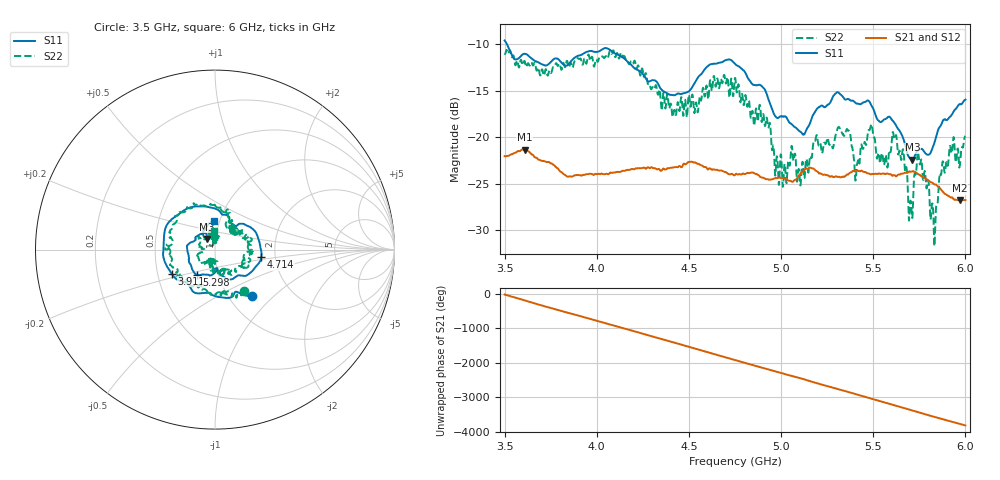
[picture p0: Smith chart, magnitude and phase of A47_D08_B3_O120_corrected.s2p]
! Created with skrf 1.9.0 (http://scikit-rf.org).
# Hz S RI R 50.0
!freq ReS11 ImS11 ReS21 ImS21 ReS12 ImS12 ReS22 ImS22
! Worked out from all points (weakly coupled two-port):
!   1601 points, 3.5 GHz to 6 GHz, reference 50 ohm
!   highest |S21| = -21.32 dB at 3.609 GHz (marker M1); lowest = -26.8 dB at 5.969 GHz (marker M2)
!   lowest |S11| = -22.4 dB at 5.713 GHz (marker M3), VSWR 1.16, Z = 45.2 + j5.43 ohm
!   |S11| at or under -10 dB: 3.512 GHz to end of sweep
!   |S22| runs from -31.7 to -10.6 dB; largest |S21 - S12| = 0.001
!   S11 on the Smith chart (normalised r, x): 3.5 GHz: 1.27, -0.74; 3.911 GHz: 0.59, -0.17; 4.714 GHz: 1.69, -0.15; 5.298 GHz: 0.79, -0.23; 6 GHz: 0.94, +0.31
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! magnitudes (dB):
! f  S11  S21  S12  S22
! 3.5 GHz  -9.6  -22.0  -22.0  -11.0
! 3.609 GHz  -11.0  -21.3  -21.3  -11.8
! 3.911 GHz  -11.2  -24.1  -24.0  -11.5
! 3.917 GHz  -11.1  -24.1  -24.1  -11.8
! 4.334 GHz  -14.3  -23.4  -23.4  -15.3
! 4.714 GHz  -11.7  -24.0  -24.0  -14.4
! 4.75 GHz  -12.1  -24.1  -24.0  -13.6
! 4.93 GHz  -15.8  -24.5  -24.5  -18.9
! 5.019 GHz  -17.8  -24.4  -24.4  -22.9
! 5.167 GHz  -17.9  -23.3  -23.3  -22.1
! 5.298 GHz  -15.2  -24.2  -24.2  -19.6
! 5.366 GHz  -15.9  -24.0  -23.9  -19.3
! 5.409 GHz  -16.4  -23.6  -23.5  -23.2
! 5.484 GHz  -16.4  -24.0  -23.9  -18.9
! 5.584 GHz  -17.8  -23.9  -23.9  -21.8
! 5.617 GHz  -18.5  -24.1  -24.1  -20.2
! 5.713 GHz  -22.4  -23.7  -23.6  -28.7
! 5.752 GHz  -21.3  -24.0  -24.0  -22.8
! 5.838 GHz  -20.2  -25.1  -25.0  -28.7
! 5.87 GHz  -18.6  -25.7  -25.6  -23.7
! 5.969 GHz  -16.4  -26.8  -26.7  -23.1
! 6 GHz  -16.0  -26.7  -26.7  -19.9
